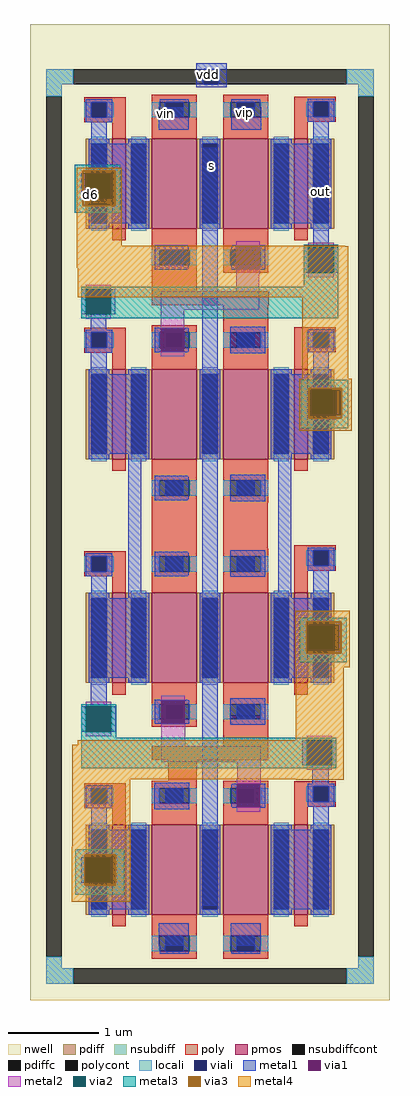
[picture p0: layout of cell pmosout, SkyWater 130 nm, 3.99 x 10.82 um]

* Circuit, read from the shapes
.subckt pmosout vdd s vin vip d6 out
XM1 d6 d6 d6 vdd sky130_fd_pr__pfet_01v8 w=1 l=0.15 m=4
XM2 out out out vdd sky130_fd_pr__pfet_01v8 w=1 l=0.15 m=4
XM3 s vin d6 vdd sky130_fd_pr__pfet_01v8 w=1 l=0.5 m=4
XM4 s vip out vdd sky130_fd_pr__pfet_01v8 w=1 l=0.5 m=4
.ends

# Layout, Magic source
magic
tech sky130A
magscale 1 2
<< nwell >>
rect -176 -1590 622 574
<< nsubdiff >>
rect -140 440 -80 474
rect 526 440 586 474
rect -140 414 -106 440
rect 552 414 586 440
rect -140 -1520 -106 -1494
rect 552 -1520 586 -1494
rect -140 -1554 -80 -1520
rect 526 -1554 586 -1520
<< nsubdiffcont >>
rect -80 440 526 474
rect -140 -1494 -106 414
rect 552 -1494 586 414
rect -80 -1554 526 -1520
<< poly >>
rect -56 401 36 412
rect -56 367 -40 401
rect -6 367 36 401
rect -56 356 36 367
rect 6 330 36 356
rect 410 402 502 413
rect 410 368 452 402
rect 486 368 502 402
rect 410 357 502 368
rect 410 337 440 357
rect 94 -19 194 84
rect 94 -50 353 -19
rect -56 -110 36 -99
rect -56 -144 -40 -110
rect -6 -144 36 -110
rect 252 -143 352 -50
rect 410 -109 502 -98
rect 410 -143 452 -109
rect 486 -143 502 -109
rect -56 -155 36 -144
rect 6 -181 36 -155
rect 410 -154 502 -143
rect 410 -176 440 -154
rect -56 -606 36 -595
rect 94 -603 194 -486
rect 252 -599 351 -487
rect 410 -593 502 -582
rect -56 -640 -40 -606
rect -6 -640 36 -606
rect -56 -651 36 -640
rect 6 -677 36 -651
rect 410 -627 452 -593
rect 486 -627 502 -593
rect 410 -638 502 -627
rect 410 -664 440 -638
rect 252 -1027 352 -959
rect 94 -1057 352 -1027
rect 130 -1058 352 -1057
rect -56 -1120 36 -1109
rect 130 -1111 194 -1058
rect -56 -1154 -40 -1120
rect -6 -1154 36 -1120
rect -56 -1165 36 -1154
rect 6 -1191 36 -1165
rect 410 -1116 502 -1105
rect 410 -1150 452 -1116
rect 486 -1150 502 -1116
rect 410 -1161 502 -1150
rect 410 -1187 440 -1161
<< polycont >>
rect -40 367 -6 401
rect 452 368 486 402
rect -40 -144 -6 -110
rect 452 -143 486 -109
rect -40 -640 -6 -606
rect 452 -627 486 -593
rect -40 -1154 -6 -1120
rect 452 -1150 486 -1116
<< locali >>
rect -140 440 -80 474
rect 526 440 586 474
rect -140 414 -106 440
rect 552 414 586 440
rect -56 367 -40 401
rect -6 367 10 401
rect 436 368 452 402
rect 486 368 502 402
rect -56 -144 -40 -110
rect -6 -144 10 -110
rect 436 -143 452 -109
rect 486 -143 502 -109
rect -56 -640 -40 -606
rect -6 -640 10 -606
rect 436 -627 452 -593
rect 486 -627 502 -593
rect -56 -1154 -40 -1120
rect -6 -1154 10 -1120
rect 436 -1150 452 -1116
rect 486 -1150 502 -1116
rect -140 -1520 -106 -1494
rect 552 -1520 586 -1494
rect -140 -1554 -80 -1520
rect 526 -1554 586 -1520
<< viali >>
rect 208 440 242 474
rect -40 367 -6 401
rect 452 368 486 402
rect -40 -144 -6 -110
rect 452 -143 486 -109
rect -40 -640 -6 -606
rect 452 -627 486 -593
rect -40 -1154 -6 -1120
rect 452 -1150 486 -1116
<< metal1 >>
rect 193 474 260 487
rect 193 440 208 474
rect 242 440 260 474
rect 193 434 260 440
rect -52 401 6 407
rect -52 367 -40 401
rect -6 367 6 401
rect 440 402 498 408
rect -52 356 6 367
rect -40 308 -6 356
rect 109 339 176 389
rect 270 339 337 389
rect 440 368 452 402
rect 486 368 498 402
rect 440 357 498 368
rect 452 308 486 357
rect -40 243 82 308
rect -62 187 -52 243
rect 4 187 82 243
rect -40 132 82 187
rect 100 81 174 83
rect 100 31 176 81
rect 100 29 174 31
rect -63 -70 -53 -14
rect 3 -70 13 -14
rect -41 -104 -7 -70
rect 100 -101 174 -100
rect -52 -110 6 -104
rect -52 -144 -40 -110
rect -6 -144 6 -110
rect -52 -155 6 -144
rect 100 -153 114 -101
rect 166 -153 176 -101
rect 100 -154 174 -153
rect -41 -194 -6 -155
rect -40 -379 82 -203
rect -52 -606 6 -600
rect -52 -640 -40 -606
rect -6 -640 6 -606
rect -52 -651 6 -640
rect -40 -695 -6 -651
rect 42 -699 71 -379
rect 100 -430 174 -428
rect 100 -480 176 -430
rect 100 -482 174 -480
rect 100 -598 174 -596
rect 100 -648 176 -598
rect 100 -650 174 -648
rect -40 -861 82 -699
rect -41 -875 82 -861
rect -41 -939 -6 -875
rect 100 -925 174 -924
rect -62 -995 -52 -939
rect 4 -995 14 -939
rect 100 -977 115 -925
rect 167 -977 177 -925
rect 100 -978 174 -977
rect 100 -1113 177 -1108
rect -52 -1120 6 -1114
rect -52 -1154 -40 -1120
rect -6 -1154 6 -1120
rect -52 -1165 6 -1154
rect -40 -1208 -6 -1165
rect 99 -1167 177 -1113
rect -40 -1274 82 -1213
rect -62 -1330 -52 -1274
rect 4 -1330 82 -1274
rect -40 -1389 82 -1330
rect 206 -1381 240 300
rect 364 132 486 308
rect 272 82 346 83
rect 271 81 281 82
rect 270 31 281 81
rect 271 30 281 31
rect 333 30 346 82
rect 452 79 486 132
rect 272 29 346 30
rect 431 23 441 79
rect 497 23 507 79
rect 268 -156 346 -97
rect 440 -109 498 -103
rect 440 -143 452 -109
rect 486 -143 498 -109
rect 440 -154 498 -143
rect 452 -203 486 -154
rect 364 -238 486 -203
rect 364 -294 446 -238
rect 502 -294 512 -238
rect 364 -379 486 -294
rect 268 -484 346 -425
rect 268 -652 346 -593
rect 374 -699 403 -379
rect 440 -593 498 -587
rect 440 -627 452 -593
rect 486 -627 498 -593
rect 440 -638 498 -627
rect 452 -699 486 -638
rect 364 -758 486 -699
rect 364 -814 443 -758
rect 499 -814 509 -758
rect 364 -875 486 -814
rect 268 -980 346 -921
rect 427 -1070 437 -1014
rect 493 -1070 503 -1014
rect 450 -1110 486 -1070
rect 272 -1111 346 -1110
rect 272 -1112 282 -1111
rect 270 -1162 282 -1112
rect 272 -1163 282 -1162
rect 334 -1163 346 -1111
rect 440 -1116 498 -1110
rect 440 -1150 452 -1116
rect 486 -1150 498 -1116
rect 440 -1161 498 -1150
rect 272 -1164 346 -1163
rect 452 -1212 486 -1161
rect 364 -1389 486 -1213
rect 109 -1470 176 -1420
rect 269 -1470 336 -1420
<< via1 >>
rect -52 187 4 243
rect -53 -70 3 -14
rect 114 -153 166 -101
rect -52 -995 4 -939
rect 115 -977 167 -925
rect -52 -1330 4 -1274
rect 281 30 333 82
rect 441 23 497 79
rect 446 -294 502 -238
rect 443 -814 499 -758
rect 437 -1070 493 -1014
rect 282 -1163 334 -1111
<< metal2 >>
rect -52 243 4 253
rect -52 177 4 187
rect 281 82 333 92
rect 281 20 333 30
rect 441 79 497 89
rect -53 -14 3 -4
rect 281 -18 332 20
rect 441 13 497 23
rect -53 -80 3 -70
rect 114 -55 332 -18
rect 114 -60 331 -55
rect 114 -101 166 -60
rect 114 -163 166 -153
rect 446 -238 502 -228
rect 446 -304 502 -294
rect 443 -758 499 -748
rect 443 -824 499 -814
rect 115 -925 167 -915
rect -52 -939 4 -929
rect -52 -1005 4 -995
rect 115 -979 167 -977
rect 115 -1027 168 -979
rect 437 -1014 493 -1004
rect 115 -1062 335 -1027
rect 283 -1101 335 -1062
rect 437 -1080 493 -1070
rect 282 -1111 335 -1101
rect 282 -1173 334 -1163
rect -52 -1274 4 -1264
rect -52 -1340 4 -1330
<< via2 >>
rect -52 187 4 243
rect 441 23 497 79
rect -53 -70 3 -14
rect 446 -294 502 -238
rect 443 -814 499 -758
rect -52 -995 4 -939
rect 437 -1070 493 -1014
rect -52 -1330 4 -1274
<< metal3 >>
rect -77 249 24 262
rect -77 171 -59 249
rect 13 171 24 249
rect -77 155 24 171
rect 431 79 507 84
rect 431 23 441 79
rect 497 23 507 79
rect 431 -9 507 23
rect -63 -14 507 -9
rect -63 -70 -53 -14
rect 3 -70 507 -14
rect -63 -78 507 -70
rect 425 -234 530 -215
rect 425 -300 442 -234
rect 515 -300 530 -234
rect 425 -322 530 -300
rect 422 -751 526 -743
rect 422 -821 436 -751
rect 514 -821 526 -751
rect 422 -841 526 -821
rect -62 -935 14 -934
rect -62 -939 15 -935
rect -62 -995 -52 -939
rect 4 -995 15 -939
rect -62 -1009 15 -995
rect -62 -1014 503 -1009
rect -62 -1070 437 -1014
rect 493 -1070 503 -1014
rect -62 -1076 503 -1070
rect -76 -1268 33 -1256
rect -76 -1336 -55 -1268
rect 14 -1336 33 -1268
rect -76 -1357 33 -1336
<< via3 >>
rect -59 243 13 249
rect -59 187 -52 243
rect -52 187 4 243
rect 4 187 13 243
rect -59 171 13 187
rect 442 -238 515 -234
rect 442 -294 446 -238
rect 446 -294 502 -238
rect 502 -294 515 -238
rect 442 -300 515 -294
rect 436 -758 514 -751
rect 436 -814 443 -758
rect 443 -814 499 -758
rect 499 -814 514 -758
rect 436 -821 514 -814
rect -55 -1274 14 -1268
rect -55 -1330 -52 -1274
rect -52 -1330 4 -1274
rect 4 -1330 14 -1274
rect -55 -1336 14 -1330
<< metal4 >>
rect -72 249 27 255
rect -72 171 -59 249
rect 13 171 27 249
rect -72 82 27 171
rect -72 81 522 82
rect -72 34 530 81
rect -70 -32 530 34
rect 428 -213 530 -32
rect 421 -234 537 -213
rect 421 -300 442 -234
rect 515 -300 537 -234
rect 421 -328 537 -300
rect 412 -751 533 -727
rect 412 -821 436 -751
rect 514 -821 533 -751
rect 412 -852 533 -821
rect 413 -1014 519 -852
rect -70 -1024 519 -1014
rect -82 -1100 519 -1024
rect -82 -1250 46 -1100
rect 413 -1102 519 -1100
rect -83 -1268 46 -1250
rect -83 -1336 -55 -1268
rect 14 -1336 46 -1268
rect -83 -1372 46 -1336
use sky130_fd_pr__pfet_01v8_2XUZHN  sky130_fd_pr__pfet_01v8_2XUZHN_0
transform 1 0 21 0 1 220
box -109 -162 109 162
use sky130_fd_pr__pfet_01v8_2XUZHN  sky130_fd_pr__pfet_01v8_2XUZHN_1
transform 1 0 425 0 1 220
box -109 -162 109 162
use sky130_fd_pr__pfet_01v8_2XUZHN  sky130_fd_pr__pfet_01v8_2XUZHN_2
transform 1 0 21 0 1 -291
box -109 -162 109 162
use sky130_fd_pr__pfet_01v8_2XUZHN  sky130_fd_pr__pfet_01v8_2XUZHN_3
transform 1 0 425 0 1 -291
box -109 -162 109 162
use sky130_fd_pr__pfet_01v8_2XUZHN  sky130_fd_pr__pfet_01v8_2XUZHN_4
transform 1 0 21 0 1 -1301
box -109 -162 109 162
use sky130_fd_pr__pfet_01v8_2XUZHN  sky130_fd_pr__pfet_01v8_2XUZHN_5
transform 1 0 425 0 1 -1301
box -109 -162 109 162
use sky130_fd_pr__pfet_01v8_2XUZHN  sky130_fd_pr__pfet_01v8_2XUZHN_6
transform 1 0 21 0 1 -787
box -109 -162 109 162
use sky130_fd_pr__pfet_01v8_2XUZHN  sky130_fd_pr__pfet_01v8_2XUZHN_7
transform 1 0 425 0 1 -787
box -109 -162 109 162
use sky130_fd_pr__pfet_01v8_VQXX6L  sky130_fd_pr__pfet_01v8_VQXX6L_0
transform 1 0 223 0 1 -1301
box -223 -200 223 200
use sky130_fd_pr__pfet_01v8_VQXX6L  sky130_fd_pr__pfet_01v8_VQXX6L_1
transform 1 0 223 0 1 -787
box -223 -200 223 200
use sky130_fd_pr__pfet_01v8_VQXX6L  sky130_fd_pr__pfet_01v8_VQXX6L_2
transform 1 0 223 0 1 -291
box -223 -200 223 200
use sky130_fd_pr__pfet_01v8_VQXX6L  sky130_fd_pr__pfet_01v8_VQXX6L_3
transform 1 0 223 0 1 220
box -223 -200 223 200
<< labels >>
flabel viali 219 462 219 462 0 FreeSans 800 0 0 0 vdd
port 1 nsew
flabel metal1 227 261 227 261 0 FreeSans 800 0 0 0 s
port 2 nsew
flabel metal1 124 375 124 375 0 FreeSans 800 0 0 0 vin
port 3 nsew
flabel metal1 300 378 300 378 0 FreeSans 800 0 0 0 vip
port 4 nsew
flabel via3 -43 195 -43 195 0 FreeSans 800 0 0 0 d6
port 5 nsew
flabel metal1 467 203 467 203 0 FreeSans 800 0 0 0 out
port 6 nsew
<< end >>

# cell sky130_fd_pr__pfet_01v8_2XUZHN: kit device sky130_fd_pr__pfet_01v8, w 1 l 0.15 m 1 nf 1 diffcov 100 polycov 100 guard 0 glc 1 grc 1 gtc 1 gbc 1 tbcov 100 rlcov 100 topc 0 botc 0 poverlap 0 doverlap 1 lmin 0.15 wmin 0.42 compatible {sky130_fd_pr__pfet_01v8 sky130_fd_pr__pfet_01v8_lvt sky130_fd_pr__pfet_01v8_hvt sky130_fd_pr__pfet_g5v0d10v5} full_metal 1 viasrc 100 viadrn 100 viagate 100 viagb 0 viagr 0 viagl 0 viagt 0

# cell sky130_fd_pr__pfet_01v8_VQXX6L: kit device sky130_fd_pr__pfet_01v8, w 1 l 0.5 m 1 nf 2 diffcov 100 polycov 100 guard 0 glc 1 grc 1 gtc 1 gbc 1 tbcov 100 rlcov 100 topc 1 botc 1 poverlap 0 doverlap 1 lmin 0.15 wmin 0.42 compatible {sky130_fd_pr__pfet_01v8 sky130_fd_pr__pfet_01v8_lvt sky130_fd_pr__pfet_01v8_hvt sky130_fd_pr__pfet_g5v0d10v5} full_metal 1 viasrc 100 viadrn 100 viagate 60 viagb 0 viagr 0 viagl 0 viagt 0
